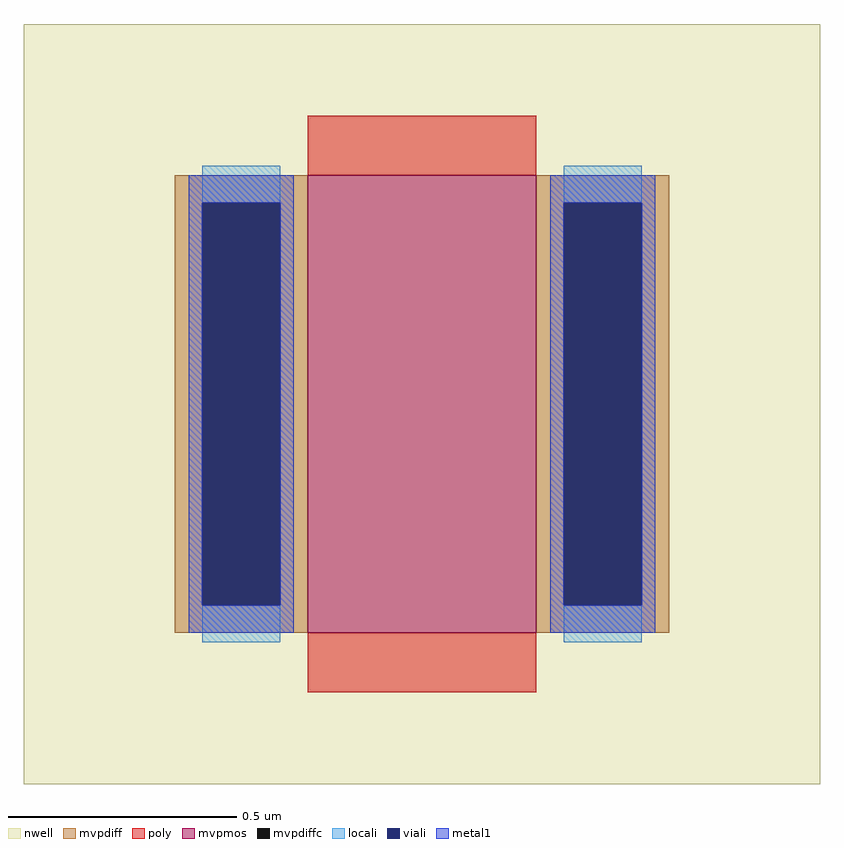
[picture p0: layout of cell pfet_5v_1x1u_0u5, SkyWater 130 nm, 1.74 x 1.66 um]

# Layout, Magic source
magic
tech sky130A
<< nwell >>
rect -40 11 134 177
<< mvpmos >>
rect 22 44 72 144
<< mvpdiff >>
rect -7 138 22 144
rect -7 50 -1 138
rect 16 50 22 138
rect -7 44 22 50
rect 72 138 101 144
rect 72 50 78 138
rect 95 50 101 138
rect 72 44 101 50
<< mvpdiffc >>
rect -1 50 16 138
rect 78 50 95 138
<< poly >>
rect 22 144 72 157
rect 22 31 72 44
<< locali >>
rect -1 138 16 146
rect -1 42 16 50
rect 78 138 95 146
rect 78 42 95 50
<< viali >>
rect -1 50 16 138
rect 78 50 95 138
<< metal1 >>
rect -4 138 19 144
rect -4 50 -1 138
rect 16 50 19 138
rect -4 44 19 50
rect 75 138 98 144
rect 75 50 78 138
rect 95 50 98 138
rect 75 44 98 50
<< end >>
